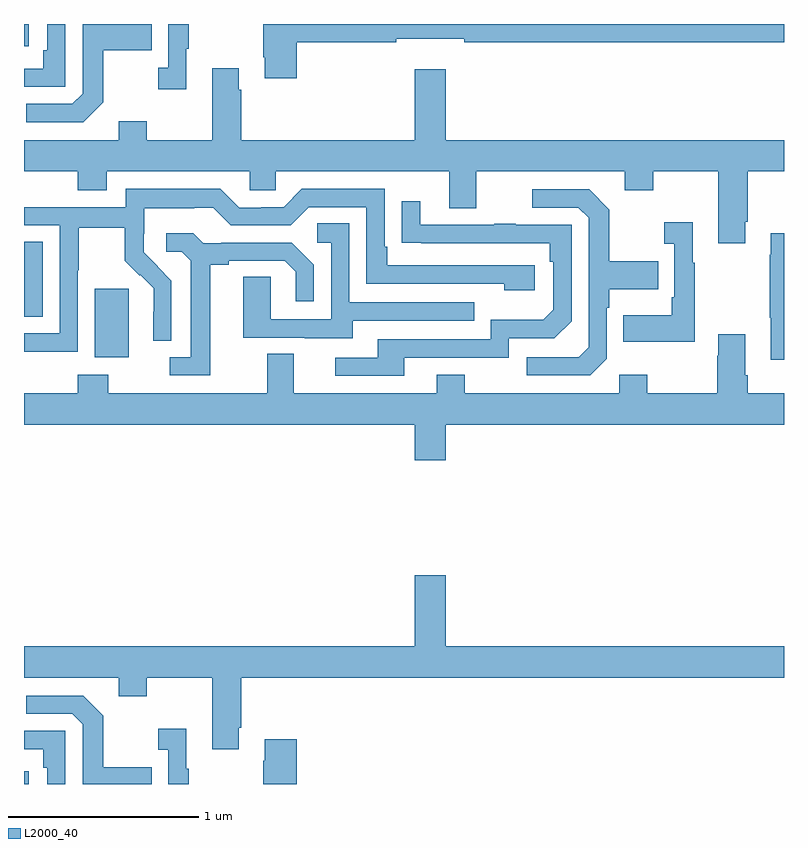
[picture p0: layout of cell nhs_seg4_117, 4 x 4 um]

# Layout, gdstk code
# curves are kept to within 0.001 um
import gdstk
lib = gdstk.Library(unit=1e-6, precision=1e-09)
def R(c, l, rs):  # rectangles x0, y0, x1, y1
    for r in rs: c.add(gdstk.rectangle(r[:2], r[2:], *l))
def P(c, l, *ps):  # polygons
    for p in ps: c.add(gdstk.Polygon(p, *l))
L2000_40 = (2000, 40)

nhs_seg4_117 = lib.new_cell('nhs_seg4_117')
R(nhs_seg4_117, L2000_40, [(115,822.9,115.024,822.966), (115.373,825.146,115.552,825.507), (115,825.358,115.099,825.755), (115,826.782,115.024,826.9)])
P(nhs_seg4_117, L2000_40, [(115.855,826.769),(115.867,826.769),(115.867,826.9),(115.758,826.9),(115.758,826.67),(115.707,826.67),(115.707,826.557),(115.855,826.557)],
  [(116.435,826.804),(116.96,826.804),(116.96,826.823),(117.316,826.823),(117.316,826.804),(119,826.804),(119,826.9),(116.26,826.9),(116.26,826.726),(116.267,826.726),(116.267,826.614),(116.435,826.614)],
  [(115.218,826.9),(115.122,826.9),(115.122,826.762),(115.102,826.762),(115.102,826.665),(115,826.665),(115,826.569),(115.218,826.569)],
  [(115.417,826.489),(115.417,826.762),(115.673,826.762),(115.673,826.9),(115.308,826.9),(115.308,826.533),(115.254,826.479),(115.011,826.479),(115.011,826.383),(115.311,826.383)],
  [(118.795,825.859),(118.808,825.859),(118.808,826.124),(119,826.124),(119,826.288),(117.22,826.288),(117.22,826.663),(117.056,826.663),(117.056,826.288),(116.144,826.288),(116.144,826.553),(116.131,826.553),(116.131,826.666),(115.991,826.666),(115.991,826.288),(115.647,826.288),(115.647,826.387),(115.499,826.387),(115.499,826.288),(115,826.288),(115,826.124),(115.283,826.124),(115.283,826.025),(115.435,826.025),(115.435,826.124),(116.187,826.124),(116.187,826.026),(116.325,826.026),(116.325,826.124),(117.239,826.124),(117.239,825.93),(117.379,825.93),(117.379,826.124),(118.163,826.124),(118.163,826.025),(118.311,826.025),(118.311,826.124),(118.655,826.124),(118.655,825.747),(118.795,825.747)],
  [(115.284,825.604),(115.287,825.604),(115.287,825.828),(115.531,825.828),(115.531,825.653),(115.608,825.576),(115.611,825.579),(115.682,825.509),(115.682,825.386),(115.68,825.386),(115.68,825.232),(115.776,825.232),(115.776,825.55),(115.63,825.698),(115.63,825.795),(115.632,825.795),(115.632,825.929),(115.895,825.929),(115.895,825.933),(115.995,825.933),(116.088,825.84),(116.403,825.84),(116.499,825.936),(116.802,825.936),(116.802,825.534),(117.527,825.534),(117.527,825.5),(117.688,825.5),(117.688,825.63),(116.911,825.63),(116.911,825.727),(116.898,825.727),(116.898,826.032),(116.463,826.032),(116.367,825.936),(116.249,825.936),(116.249,825.933),(116.133,825.933),(116.033,826.033),(115.536,826.033),(115.536,825.936),(115,825.936),(115,825.84),(115.188,825.84),(115.188,825.273),(115,825.273),(115,825.175),(115.284,825.175)],
  [(118.068,825.138),(118.068,825.407),(118.081,825.407),(118.081,825.503),(118.337,825.503),(118.337,825.651),(118.081,825.651),(118.081,825.923),(117.975,826.029),(117.675,826.029),(117.675,825.933),(117.918,825.933),(117.972,825.879),(117.972,825.198),(117.921,825.147),(117.645,825.147),(117.645,825.051),(117.981,825.051)],
  [(117.001,825.144),(117.552,825.144),(117.552,825.246),(117.792,825.246),(117.882,825.336),(117.882,825.843),(117.587,825.843),(117.587,825.848),(117.475,825.848),(117.475,825.843),(117.085,825.843),(117.085,825.967),(116.989,825.967),(116.989,825.748),(117.766,825.747),(117.766,825.65),(117.786,825.65),(117.786,825.396),(117.733,825.343),(117.456,825.343),(117.456,825.24),(116.861,825.24),(116.861,825.144),(116.637,825.144),(116.637,825.048),(117.001,825.048)],
  [(118.531,825.643),(118.519,825.643),(118.519,825.856),(118.371,825.856),(118.371,825.743),(118.422,825.743),(118.422,825.463),(118.41,825.463),(118.41,825.367),(118.153,825.367),(118.153,825.227),(118.531,825.227)],
  [(116.731,825.339),(117.371,825.339),(117.371,825.435),(116.712,825.435),(116.712,825.851),(116.544,825.851),(116.544,825.75),(116.616,825.75),(116.616,825.345),(116.298,825.345),(116.298,825.569),(116.153,825.569),(116.153,825.249),(116.477,825.249),(116.477,825.245),(116.731,825.245)],
  [(115.981,825.632),(116.077,825.632),(116.077,825.654),(116.372,825.654),(116.429,825.597),(116.429,825.441),(116.526,825.441),(116.526,825.634),(116.41,825.75),(116.038,825.75),(116.038,825.747),(115.944,825.747),(115.892,825.799),(115.749,825.799),(115.749,825.702),(115.83,825.702),(115.877,825.655),(115.877,825.147),(115.767,825.147),(115.767,825.051),(115.981,825.051)],
  [(119,825.799),(118.931,825.799),(118.931,825.686),(118.924,825.686),(118.924,825.355),(118.931,825.355),(118.931,825.132),(119,825.132)],
  [(117.22,824.792),(119,824.792),(119,824.956),(118.808,824.956),(118.808,825.052),(118.795,825.052),(118.795,825.268),(118.655,825.268),(118.655,825.155),(118.648,825.155),(118.648,824.956),(118.281,824.956),(118.281,825.055),(118.134,825.055),(118.134,824.956),(117.321,824.956),(117.321,825.055),(117.173,825.055),(117.173,824.956),(116.419,824.956),(116.419,825.164),(116.279,825.164),(116.279,824.956),(115.443,824.956),(115.443,825.055),(115.283,825.055),(115.283,824.956),(115,824.956),(115,824.792),(117.056,824.792),(117.056,824.604),(117.22,824.604)],
  [(116.131,823.195),(116.144,823.195),(116.144,823.46),(119,823.46),(119,823.624),(117.22,823.624),(117.22,823.999),(117.056,823.999),(117.056,823.624),(115,823.624),(115,823.46),(115.499,823.46),(115.499,823.361),(115.647,823.361),(115.647,823.46),(115.991,823.46),(115.991,823.083),(116.131,823.083)],
  [(115.673,822.987),(115.417,822.987),(115.417,823.259),(115.311,823.365),(115.011,823.365),(115.011,823.269),(115.254,823.269),(115.308,823.215),(115.308,822.9),(115.673,822.9)],
  [(115.867,822.979),(115.855,822.979),(115.855,823.192),(115.707,823.192),(115.707,823.079),(115.758,823.079),(115.758,822.9),(115.867,822.9)],
  [(115.218,823.179),(115,823.179),(115,823.083),(115.102,823.083),(115.102,822.986),(115.122,822.986),(115.122,822.9),(115.218,822.9)],
  [(116.435,823.135),(116.267,823.135),(116.267,823.022),(116.26,823.022),(116.26,822.9),(116.435,822.9)])

lib.write_gds('nhs_seg4_117.gds')
